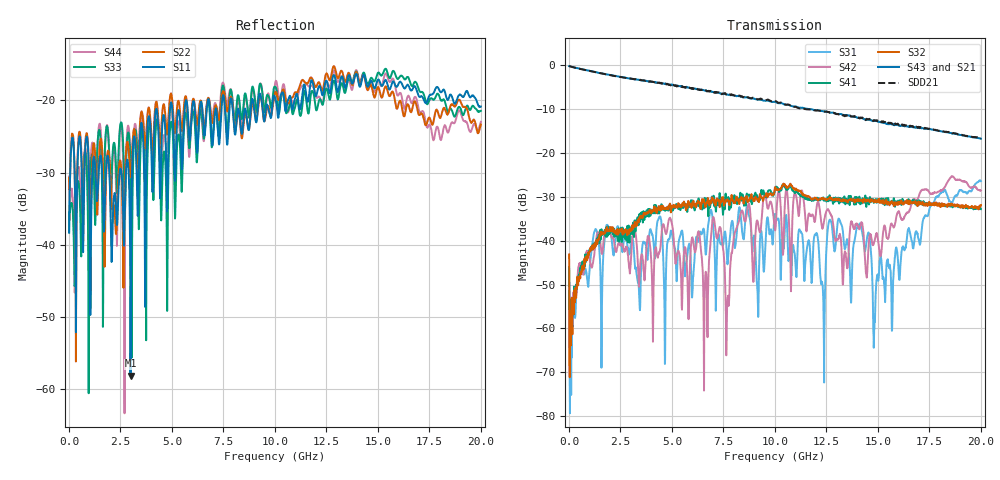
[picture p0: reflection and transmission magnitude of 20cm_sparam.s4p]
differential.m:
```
%% differential only serdes channel simulation

%% setup channel parameters
bit_rate = 28e9;         %bits-per-second
bit_time = 1/bit_rate;   % second
samples_per_bit = 64;  
sampling_rate = bit_rate * samples_per_bit; 
sample_step = bit_time / samples_per_bit;
seqlength = 10000;   % length of random sequence bits
z0_t = input('Enter the reference impedance: ');
z0_r = input('Enter the terminal impedance: ');

%% setup IBIS AMI model path and filename
modelpath = 'C:\Users\younger\Documents\MATLAB\_develop\_chasim\Qlogic_Cetus_wrk';

tx_amifilename = 'g28_28g_tx.ami';
rx_amifilename = 'g28_28g_rx.ami';
tx_dllfilename = 'G28_28G_Tx_32.dll';
rx_dllfilename = 'G28_28G_Rx_32.dll';

tx_amifile = fullfile(modelpath, tx_amifilename);
rx_amifile = fullfile(modelpath, rx_amifilename);
tx_dllfile = fullfile(modelpath, tx_dllfilename);
rx_dllfile = fullfile(modelpath, rx_dllfilename);

addpath(modelpath)

%% concatenation
addpath('C:\Users\younger\Documents\MATLAB\_develop\_chasim\impulse_response_oct2012');
addpath('C:\Users\younger\Documents\MATLAB\_develop\_chasim\SYZ_conversions');
s4ppath = 'C:\Users\younger\Documents\MATLAB\_develop\_chasim\Qlogic_Cetus_wrk';

SNP_ADSname = 'spara1.s4p';
SNP_ADSfile= fullfile(s4ppath, SNP_ADSname);

SNP1_s4pname = 'm_qlogic_baker_e049_fc_tx0_shrt.s4p';
SNP1_s4pfile = fullfile(s4ppath, SNP1_s4pname);

SNP2_s4pname = '20cm_sparam.s4p';
SNP2_s4pfile = fullfile(s4ppath, SNP2_s4pname);

SNP3_s4pname = 'm_qlogic_baker_e049_fc_rx0_shrt.s4p';
SNP3_s4pfile = fullfile(s4ppath, SNP3_s4pname);

SNP_ADS = tsnpimporti(SNP_ADSfile);
SNP1_s4pstruct = tsnpimporti(SNP1_s4pfile);
SNP2_s4pstruct = tsnpimporti(SNP2_s4pfile);
SNP3_s4pstruct = tsnpimporti(SNP3_s4pfile);
%input pindex1 pindex2 pindex 3
%need to be chosen accorinding the pin index of the networks
pindex1 = [1 2;3 4];
pindex2 = [1 2;3 4];
pindex3 = [1 2;3 4];

% calculate DC point of S-parameter in 20cm_sparam.s4p
Rp1 = 0.2 / 0.035 * 0.0175;
Rp2 = 0.2;
R1 = z0_t;
R2 = z0_r;
dcpoint = []
fq = SNP2_s4pstruct.freqlist;

[SNPO_conca,pindex,fq,err,errmsg] = concatenate(SNP1_s4pstruct,SNP2_s4pstruct,pindex1,pindex2,fq);
[SNPO_conca,pindex,fq,err,errmsg] = concatenate(SNPO_conca,SNP3_s4pstruct,pindex,pindex3,fq);

%% get channel impulse response 
% znp1 = s2z(SNPO_conca);
% 
% mv = [1 0 -1 0; 0 1 0 -1; 0.5 0 0.5 0; 0 0.5 0 0.5];
% mi = [0.5 0 -0.5 0; 0 0.5 0 -0.5; 1 0 1 0; 0 1 0 1];
% for i=1:800
%    zm(:,:,i) = (mv * znp1.data(:,:,i)) * inv(mi);
% end
% 
% zdd = zm(1:2,1:2,:);
% u = [1 0;0 1];
% zt = [-2*z0_t 0;0 -2*z0_r];
% for i=1:800
%     Htrans(:,:,i) = inv(u - zt * inv(zdd(:,:,i)));
% end
% Htrans1 = Htrans(2, 1, :); % channel transfer function H(jw)
% hac_t = ifft(Htrans1); % channel impulse response hAC(t)
% %channel_impres = hac_t(:,1,:);
% channel_impres = reshape(real(hac_t), 1, 800);
% 
% tinterp = 0:sample_step:799*sample_step;
% plot(tinterp, channel_impres);
% 
%  
% 
% %% IBIS AMI_Init
% amipari = txt2str( tx_amifile );
% 
% if isrow(channel_impres)
%     channel_impres = channel_impres';
% end
% 
% [dllpath, dllname, dllext] = fileparts(tx_dllfile);
% addpath(dllpath);
% 
% lload = loadlibrary(tx_dllfile);
% isloadedok = libisloaded(dllname);
% libfun = libfunctions(dllname, '-full');
% 
% 
% [row_size,aggressors] = size(channel_impres);
% 
% amiparo_ptrptr = libpointer('stringPtrPtr', {''});
% amimemhdl_ptrptr = libpointer('voidPtrPtr', []);
% amimsg_ptrptr = libpointer('stringPtrPtr', {''});
% 
% [ret0, impreso, pario, amiparo, amimemhdl, amimsg ] = ...
%     calllib(dllname, 'AMI_Init', channel_impres, row_size, aggressors-1, sample_step, bit_time, ...
%             amipari, amiparo_ptrptr, amimemhdl_ptrptr, amimsg_ptrptr);
%         
% %[long, doublePtr, cstring, stringPtrPtr, voidPtrPtr, stringPtrPtr
% pauseanchor=1;
% % [ impresotx, amiparotx, mhtx, initmsgtx, errtx, errmsgtx ] = amiinit_1207a(tx_amifile, tx_dllfile, channel_impres, sample_step, bit_time);
% 
% plot(tinterp, channel_impres,'--rs', tinterp, impreso','-.bo');
% title('Impulse Response');
% xlabel('Time');
% ylabel('Impulse');
% legend('Whatever');
% grid on;
% 
% % [ impresorx, amiparorx, mhrx, initmsgrx, errrx, errmsgrx ] = amiinit_1207a(rx_amifile, rx_dllfile, impresotx, sample_step, bit_time);
% % 
% % plot(tinterp, channel_impres,'--rs', tinterp, impresotx','-.bo', tinterp, (impresorx - 0.05)',':md');
% % title('Impulse Response');
% % xlabel('Time');
% % ylabel('Impulse');
% % %legend('Modified');
% % grid on;
% 
% % %% IBIS AMI_GetWave, Tx
% % seqi = prbs1(seqlength);
% % [wavei,sample_step_txgw, tlistt, etxgw,emtxgw] = bnrzmod(seqi, bit_rate, samples_per_bit);
% % wave_time = tlistt; 
% % 
% % clk_count = seqlength + 2;
% % clki = rand(1, clk_count) * seqlength * bit_time;
% % 
% % 
% % [ waveo, clko, amiparo, amimemhdl, err, errmsg ] = amigetwave_1208a(tx_dllfile, mhtx, wavei, clki);
% % 
% % plot(wave_time, wavei,'--rs', wave_time, waveo,'-.bo');
% % title('Impulse Response');
% % xlabel('Time');
% % ylabel('Impulse');
% % %legend('Whatever');
% % grid on;
% % 
% % %% convolution with channel impulse response
% % 
% % wave_rxin = conv(waveo, impresorx');
% % wave_time_rxin = ( 0: (length(wave_rxin)-1) ) * sample_step_txgw;
% % plot(wave_time, wavei,'--ms', wave_time, waveo,'--rd', wave_time_rxin, wave_rxin*0.1,'-.bo');
% % title('Impulse Response');
% % xlabel('Time');
% % ylabel('Impulse');
% % %legend('Whatever');
% % grid on;
% % 
% % %% IBIS AMI_GetWave, Rx
% % seqlength_rxin = length(wave_rxin) / samples_per_bit ;
% % clk_count = int64(seqlength_rxin + 10);
% % clki = rand(1, clk_count) * seqlength_rxin * bit_time;
% % 
% % [ wave_rxo, clk_rxo, amipar_rxo, amimemhdl_rxo, errrxo, errmsgrxo ] = amigetwave_1208a(rx_dllfile, mhrx, wave_rxin*0.1, clki);
% % %plot(wave_time, wavei,'--ms', wave_time, waveo,'--rd', wave_time_rxin, wave_rxin,'-.bo');
% % %plot( wave_time, waveo,'--rd', wave_time_rxin, wave_rxin,'-.bo', wave_time_rxin, wave_rxo,'-.ms');
% % % % plot(  wave_time_rxin, wave_rxin*0.1,'-.bo', wave_time_rxin, wave_rxo,'-.ms');
% % % % title('Impulse Response');
% % % % xlabel('Time');
% % % % ylabel('Impulse');
% % % % legend('Whatever');
% % % % grid on;
% % 
% % clf;
% % wave_time_rxin_12 = wave_time_rxin(2000:(2000+samples_per_bit*100));
% % wave_rxin_12      = wave_rxin(2000:(2000+samples_per_bit*100));
% % wave_rxo_12       = wave_rxo(2000:(2000+samples_per_bit*100));
% % plot(  wave_time_rxin_12, wave_rxin_12*0.1,'-.bo', wave_time_rxin_12, wave_rxo_12,'-.ms');
% % title('Impulse Response');
% % xlabel('Time');
% % ylabel('Impulse');
% % %legend('Whatever');
% % grid on;
% % 
% % h = eyediagram(wave_rxo(2000:(2000+samples_per_bit*100)), 2*samples_per_bit);
% % 
% % pausehere=1;
% % 
% 
%
```
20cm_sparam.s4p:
! S11 = SDD11
! S12 = SDD12
! S13 = SDC11
! S14 = SDC12
! S21 = SDD21
! S22 = SDD22
! S23 = SDC21
! S24 = SDC22
! S31 = SCD11
! S32 = SCD12
! S33 = SCC11
! S34 = SCC12
! S41 = SCD21
! S42 = SCD22
! S43 = SCC21
! S44 = SCC22
! FILE: L:\Projects\Eval Projects\Cetus A1\Receiver\LSI Compliance Channels\20 cm\20cm sparam.s4p
!$DUT_CFG_DESC: Default 4 Port Configuration
!$NUMBER_PORTS: 4
!$DIFF_PORT_MAP: 1|2P|2|2P|0|UC|0|UC|
!$PORT_MAP: 1|1|<<<<<<|2|2|>>>>>>|3|3|<<<<<<|4|4|>>>>>>|
# MHz S MA R 50.00
! FREQ  S11  S12  S13  S14
!  S21  S22  S23  S24
!  S31  S32  S33  S34
!  S41  S42  S43  S44
!  MAG  ANGLE  MAG  ANGLE  MAG  ANGLE  MAG  ANGLE
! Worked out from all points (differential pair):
!   2000 points, 10 MHz to 20 GHz, reference 50 ohm
!   strongest paths, dB at 10 MHz, 5.01 GHz, 10.01 GHz, 15.01 GHz, 20 GHz:
!     S43: -0.2, -4.5, -8.3, -12.8, -16.7
!     S21: -0.2, -4.6, -8.3, -12.7, -16.8
!     S32: -43.1, -32.4, -27.8, -31.0, -31.8
!     S41: -46.0, -32.7, -28.2, -30.9, -32.8
!     S42: -52.7, -36.4, -37.7, -39.9, -28.6
!     S31: -51.6, -38.4, -33.9, -48.9, -26.4
!   taken as a pair (ports 3,1 in; 4,2 out), SDD21 dB: -0.2, -4.6, -8.1, -12.7, -16.6
!   lowest |S11| = -58.1 dB at 2.99 GHz (marker M1), VSWR 1.00, Z = 50 + j0.123 ohm
!   |S11| at or under -10 dB: start of sweep to end of sweep
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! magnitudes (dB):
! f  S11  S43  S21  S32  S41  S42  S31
! 10 MHz  -38.3  -0.2  -0.2  -43.1  -46.0  -52.7  -51.6
! 2.99 GHz  -58.1  -3.0  -3.0  -37.5  -38.1  -46.1  -41.4
! 20 GHz  -20.8  -16.7  -16.8  -31.8  -32.8  -28.6  -26.4
